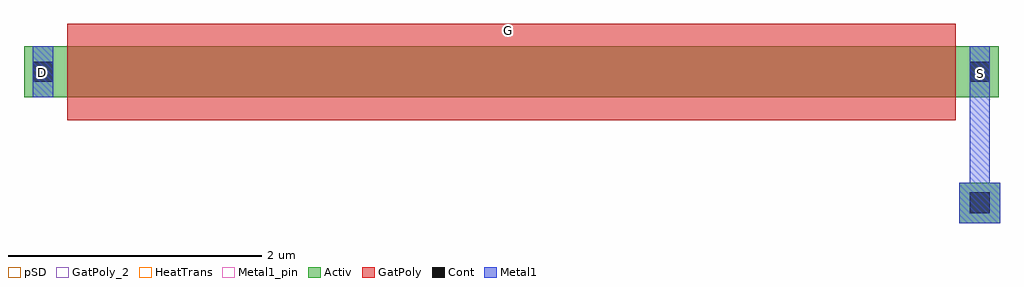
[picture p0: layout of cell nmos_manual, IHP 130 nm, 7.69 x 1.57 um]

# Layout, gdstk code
import gdstk
lib = gdstk.Library(unit=1e-6, precision=5e-09)
def R(c, l, rs):  # rectangles x0, y0, x1, y1
    for r in rs: c.add(gdstk.rectangle(r[:2], r[2:], *l))
Activ = (1, 0)
GatPoly = (5, 0)
GatPoly_2 = (5, 2)
Cont = (6, 0)
Metal1 = (8, 0)
Metal1_pin = (8, 2)
pSD = (14, 0)
HeatTrans = (51, 0)

nmos = lib.new_cell('nmos')
R(nmos, Activ, [(0,0,0.3,0.3), (0,0,7.68,0.4), (7.38,0,7.68,0.3)])
R(nmos, GatPoly, [(0.34,-0.18,7.34,0.58)])
R(nmos, GatPoly_2, [(0.34,-0.18,7.34,0.58)])
R(nmos, Cont, [(0.07,0.12,0.23,0.28), (7.45,0.12,7.61,0.28)])
R(nmos, Metal1, [(0.07,0,0.23,0.4), (7.45,0,7.61,0.4)])
R(nmos, Metal1_pin, [(0.07,0,0.23,0.4), (7.45,0,7.61,0.4)])
R(nmos, HeatTrans, [(0.34,-0.18,7.34,0.58)])
nmos.add(gdstk.Label('nmos', (3.84,0.2), layer=63, texttype=0))
nmos.add(gdstk.Label('nmos', (3.84,0.2), layer=51, texttype=0))

nmos_manual = lib.new_cell('nmos_manual')
R(nmos_manual, Activ, [(6.59,-0.475,6.91,-0.155)])
R(nmos_manual, Cont, [(6.67,-0.395,6.83,-0.23)])
R(nmos_manual, Metal1, [(6.59,-0.475,6.91,-0.155), (6.67,-0.32,6.83,0.92)])
R(nmos_manual, Metal1_pin, [(6.59,-0.475,6.91,-0.155)])
R(nmos_manual, pSD, [(6.59,-0.475,6.91,-0.155)])
nmos_manual.add(gdstk.Reference(nmos, (-0.78,0.52)))
nmos_manual.add(gdstk.Label('D', (-0.635,0.715), layer=8, texttype=2))
nmos_manual.add(gdstk.Label('S', (6.76,0.71), layer=8, texttype=2))
nmos_manual.add(gdstk.Label('G', (3.04,1.045), layer=5, texttype=2))

lib.write_gds('nmos_manual.gds')
